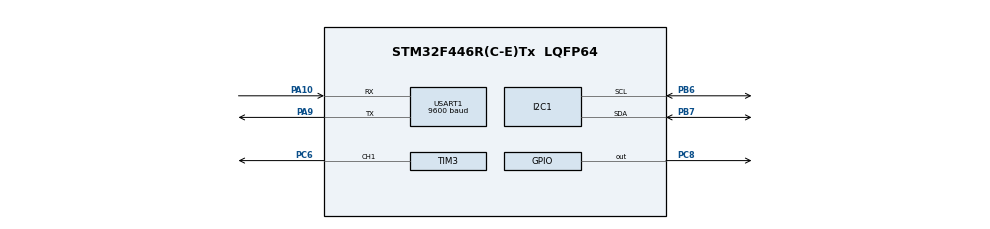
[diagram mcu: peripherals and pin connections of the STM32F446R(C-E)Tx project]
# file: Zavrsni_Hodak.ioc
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Mcu.Family=STM32F4
Mcu.Name=STM32F446R(C-E)Tx
Mcu.Package=LQFP64
NVIC.PriorityGroup=NVIC_PRIORITYGROUP_4
NVIC.TIM6_DAC_IRQn=true\:2\:0\:true\:false\:true\:true\:true\:true
NVIC.USART1_IRQn=true\:1\:0\:true\:false\:true\:true\:true\:true
PA10.Mode=Asynchronous
PA10.Signal=USART1_RX
PA13.Mode=Serial_Wire
PA13.Signal=SYS_JTMS-SWDIO
PA14.Mode=Serial_Wire
PA14.Signal=SYS_JTCK-SWCLK
PA9.Mode=Asynchronous
PA9.Signal=USART1_TX
PB6.GPIO_Pu=GPIO_NOPULL
PB6.Mode=I2C
PB6.Signal=I2C1_SCL
PB7.GPIO_Pu=GPIO_NOPULL
PB7.Mode=I2C
PB7.Signal=I2C1_SDA
PC6.Signal=S_TIM3_CH1
PC8.Signal=GPIO_Output
ProjectManager.HeapSize=0x200
ProjectManager.StackSize=0x400
ProjectManager.TargetToolchain=STM32CubeIDE
RCC.CortexFreq_Value=16000000
RCC.USBFreq_Value=96000000
RCC.VCOOutputFreq_Value=192000000
SH.S_TIM3_CH1.0=TIM3_CH1,PWM Generation1 CH1
TIM3.Channel-PWM\ Generation1\ CH1=TIM_CHANNEL_1
TIM3.Period=99
TIM3.Prescaler=15999
TIM3.Pulse-PWM\ Generation1\ CH1=0
TIM6.Period=999
TIM6.Prescaler=15999
USART1.BaudRate=9600
USART1.VirtualMode=VM_ASYNC
VP_TIM3_VS_ClockSourceINT.Mode=Internal
VP_TIM6_VS_ClockSourceINT.Mode=Enable_Timer
board=custom

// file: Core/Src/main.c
/* USER CODE BEGIN Header */
/**
  ******************************************************************************
  * @file           : main.c
  * @brief          : Main program body
  ******************************************************************************
  * @attention
  *
  * Copyright (c) 2026 STMicroelectronics.
  * All rights reserved.
  *
  * This software is licensed under terms that can be found in the LICENSE file
  * in the root directory of this software component.
  * If no LICENSE file comes with this software, it is provided AS-IS.
  *
  ******************************************************************************
  */
/* USER CODE END Header */
#include "main.h"
#include "i2c.h"
#include "tim.h"
#include "usart.h"
#include "gpio.h"

/* USER CODE BEGIN Includes */
#include "sht.h"
#include <stdio.h>
#ifdef __GNUC__
#define PUTCHAR_PROTOTYPE int __io_putchar(int ch)
#define GETCHAR_PROTOTYPE int __io_getchar(void)
#else
#define PUTCHAR_PROTOTYPE int fputc(int ch, FILE *f)
#define GETCHAR_PROTOTYPE int fgetc(FILE *f)
#endif

/* USER CODE END Includes */

void SystemClock_Config(void);

/* USER CODE BEGIN 0 */

uint8_t Data, puls, last_data;
uint8_t flag=1, aut=1;
float temp, hum;
char buffer[20];

//void HAL_UARTEx_RxEventCallback(UART_HandleTypeDef *huart, uint16_t Size)

/* USER CODE END 0 */

int main(void)
{

  /* USER CODE BEGIN 1 */
	setvbuf(stdin, NULL, _IONBF, 0);
  /* USER CODE END 1 */

  /* MCU Configuration--------------------------------------------------------*/

  /* Reset of all peripherals, Initializes the Flash interface and the Systick. */
  HAL_Init();

  /* Configure the system clock */
  SystemClock_Config();

  /* Initialize all configured peripherals */
  MX_GPIO_Init();
  MX_I2C1_Init();
  MX_USART1_UART_Init();
  MX_TIM6_Init();
  MX_TIM3_Init();
  SHT_Init();
  /* USER CODE BEGIN 2 */

  HAL_GPIO_WritePin(GPIOC, GPIO_PIN_8, 0);
  HAL_TIM_Base_Start_IT(&htim6);

  /* USER CODE END 2 */

  /* Infinite loop */
  /* USER CODE BEGIN WHILE */
  while (1)
  {
	  //Čitanje temperature i vlage sa senzora
	  SHT_GetTemp(&temp);
	  SHT_GetHum(&hum);

	  HAL_UART_Receive_IT(&huart1, &Data, 1);

	  if(flag == 1 || aut == 1)
	  {
		  HAL_TIM_PWM_Start(&htim3, TIM_CHANNEL_1);
		  flag = 0;
		  aut=0;
	  }
    /* USER CODE END WHILE */

  }
}

void SystemClock_Config(void)
{
  RCC_OscInitTypeDef RCC_OscInitStruct = {0};
  RCC_ClkInitTypeDef RCC_ClkInitStruct = {0};

  /** Configure the main internal regulator output voltage
  */
  __HAL_RCC_PWR_CLK_ENABLE();
  __HAL_PWR_VOLTAGESCALING_CONFIG(PWR_REGULATOR_VOLTAGE_SCALE3);

  /** Initializes the RCC Oscillators according to the specified parameters
  * in the RCC_OscInitTypeDef structure.
  */
  RCC_OscInitStruct.OscillatorType = RCC_OSCILLATORTYPE_HSI;
  RCC_OscInitStruct.HSIState = RCC_HSI_ON;
  RCC_OscInitStruct.HSICalibrationValue = RCC_HSICALIBRATION_DEFAULT;
  RCC_OscInitStruct.PLL.PLLState = RCC_PLL_NONE;
  if (HAL_RCC_OscConfig(&RCC_OscInitStruct) != HAL_OK)
  {
    Error_Handler();
  }

  /** Initializes the CPU, AHB and APB buses clocks
  */
  RCC_ClkInitStruct.ClockType = RCC_CLOCKTYPE_HCLK|RCC_CLOCKTYPE_SYSCLK
                              |RCC_CLOCKTYPE_PCLK1|RCC_CLOCKTYPE_PCLK2;
  RCC_ClkInitStruct.SYSCLKSource = RCC_SYSCLKSOURCE_HSI;
  RCC_ClkInitStruct.AHBCLKDivider = RCC_SYSCLK_DIV1;
  RCC_ClkInitStruct.APB1CLKDivider = RCC_HCLK_DIV1;
  RCC_ClkInitStruct.APB2CLKDivider = RCC_HCLK_DIV1;

  if (HAL_RCC_ClockConfig(&RCC_ClkInitStruct, FLASH_LATENCY_0) != HAL_OK)
  {
    Error_Handler();
  }
}

/* USER CODE BEGIN 4 */
void HAL_UART_RxCpltCallback(UART_HandleTypeDef *huart)
	  {
	    if(huart->Instance==USART1)
	    {

	  	  if(Data==49)//Manual On - ASCII za 1
	  	  {
	  		last_data = 49;
	  	  }
	  	  if(Data==48)//Manual Off - ASCII za 0
	  	  {
			  last_data = 48;
	  	  }
	  	  if(Data == 50)//Auto način rada - ASCII za 2
	  	  {
	  		  last_data = 50;
	  	  }
	    }
	  }

void HAL_TIM_PeriodElapsedCallback(TIM_HandleTypeDef *htim)
{
  if(htim->Instance == TIM6)
  {
	  sprintf(buffer, "%.2f,%.2f,\n", temp, hum); //Spremanje podataka u jedan string
	  HAL_UART_Transmit_IT(&huart1, (uint8_t*)buffer, 12);

	 if(last_data == 50)
	  {
		 aut = 1;
		  if(temp >= 24 || hum >= 45)
		  {
			  __HAL_TIM_SET_COMPARE(&htim3, TIM_CHANNEL_1, 50);
		  }
		  if(temp >= 28 || hum >= 55)
		  {
			  __HAL_TIM_SET_COMPARE(&htim3, TIM_CHANNEL_1, 70);
		  }
		  if(temp >= 31 || hum >= 65)
		  {
			  __HAL_TIM_SET_COMPARE(&htim3, TIM_CHANNEL_1, 85);
		  }
		  if(temp >= 33 || hum >= 75)
		  {
			  __HAL_TIM_SET_COMPARE(&htim3, TIM_CHANNEL_1, 100);
		  }

	  }
	  if(last_data == 48)
	  {
		  HAL_TIM_PWM_Stop(&htim3, TIM_CHANNEL_1);
	  }
	  if(last_data == 49)
	  {
		  flag = 1;
  		  __HAL_TIM_SET_COMPARE(&htim3, TIM_CHANNEL_1, 100);
  		  HAL_GPIO_WritePin(GPIOA, GPIO_PIN_5, 1);
	  }
  }
}
/* USER CODE END 4 */

void Error_Handler(void)
{
  __disable_irq();
  while (1)
  {
  }
}
